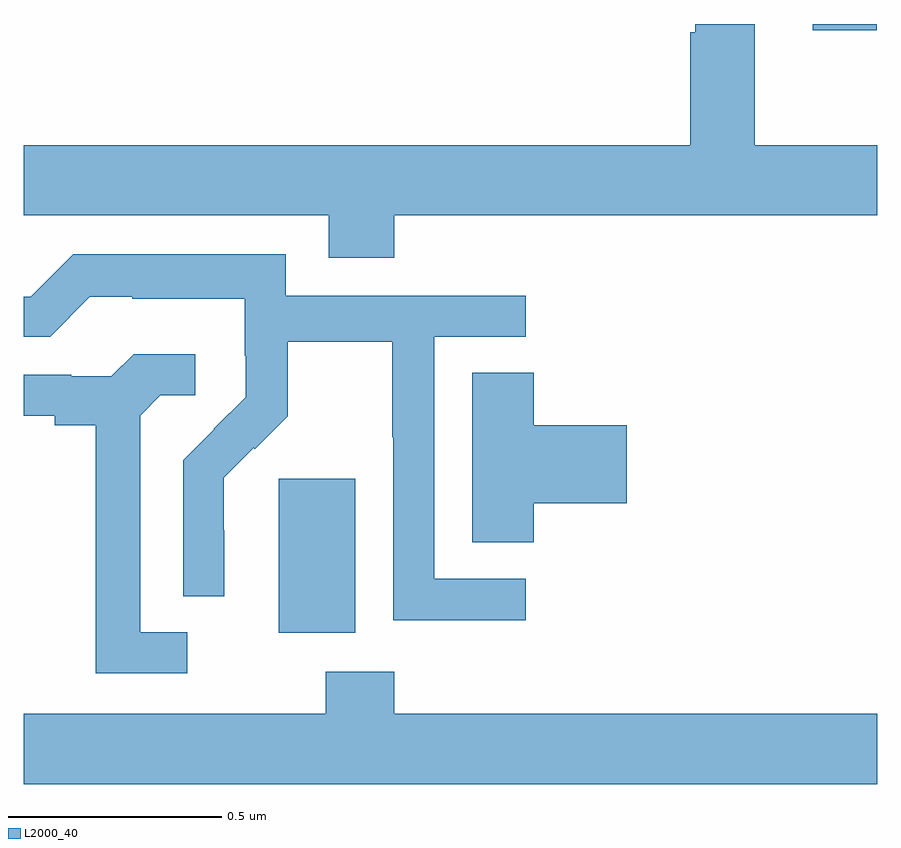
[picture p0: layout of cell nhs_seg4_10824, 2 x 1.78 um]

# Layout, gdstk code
import gdstk
lib = gdstk.Library(unit=1e-6, precision=1e-09)
def R(c, l, rs):  # rectangles x0, y0, x1, y1
    for r in rs: c.add(gdstk.rectangle(r[:2], r[2:], *l))
def P(c, l, *ps):  # polygons
    for p in ps: c.add(gdstk.Polygon(p, *l))
L2000_40 = (2000, 40)

nhs_seg4_10824 = lib.new_cell('nhs_seg4_10824')
R(nhs_seg4_10824, L2000_40, [(244.598,830.474,244.777,830.835), (245.849,831.885,245.998,831.9)])
P(nhs_seg4_10824, L2000_40, [(244.868,831.452),(246,831.452),(246,831.616),(245.713,831.616),(245.713,831.9),(245.573,831.9),(245.573,831.881),(245.561,831.881),(245.561,831.616),(244,831.616),(244,831.452),(244.715,831.452),(244.715,831.353),(244.868,831.353)],
  [(245.176,830.601),(244.962,830.601),(244.962,831.168),(245.176,831.168),(245.176,831.264),(244.614,831.264),(244.614,831.361),(244.117,831.361),(244.017,831.261),(244,831.261),(244,831.168),(244.062,831.168),(244.155,831.261),(244.255,831.261),(244.255,831.257),(244.518,831.257),(244.518,831.123),(244.52,831.123),(244.52,831.026),(244.446,830.952),(244.447,830.951),(244.374,830.878),(244.374,830.56),(244.47,830.56),(244.47,830.714),(244.469,830.714),(244.469,830.837),(244.539,830.907),(244.542,830.904),(244.619,830.981),(244.619,831.156),(244.864,831.156),(244.864,830.932),(244.866,830.932),(244.866,830.503),(245.176,830.503)],
  [(244.384,830.475),(244.273,830.475),(244.273,830.983),(244.32,831.03),(244.402,831.03),(244.402,831.127),(244.258,831.127),(244.206,831.075),(244.112,831.075),(244.112,831.078),(244,831.078),(244,830.982),(244.073,830.982),(244.073,830.96),(244.169,830.96),(244.169,830.379),(244.384,830.379)],
  [(245.195,830.777),(245.413,830.777),(245.413,830.96),(245.195,830.96),(245.195,831.083),(245.051,831.083),(245.051,830.686),(245.195,830.686)],
  [(246,830.284),(244.868,830.284),(244.868,830.383),(244.708,830.383),(244.708,830.284),(244,830.284),(244,830.12),(246,830.12)])

lib.write_gds('nhs_seg4_10824.gds')
